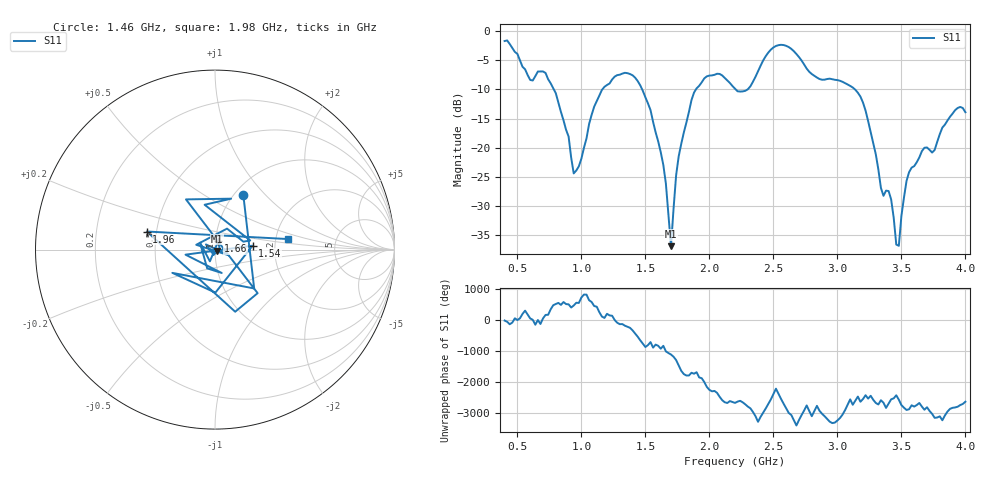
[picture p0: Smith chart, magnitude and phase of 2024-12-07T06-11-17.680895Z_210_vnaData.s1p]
!Created with skrf (http://scikit-rf.org).
# Hz S RI R 50.0
!freq ReS11 ImS11
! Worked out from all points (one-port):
!   181 points, 400 MHz to 4 GHz, reference 50 ohm
!   lowest |S11| = -36.9 dB at 1.7 GHz (marker M1), VSWR 1.03, Z = 51.2 - j0.772 ohm
!   |S11| at or under -10 dB: 784.5 MHz to 1.163 GHz (378.8 MHz wide, 38.9 % of centre); 1.475 GHz to 1.895 GHz (420 MHz wide, 24.9 % of centre); 3.137 GHz to end of sweep (the widest 3 of 4)
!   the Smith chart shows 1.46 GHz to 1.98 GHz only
!   S11 on the Smith chart (normalised r, x): 1.46 GHz: 1.10, +0.76; 1.54 GHz: 1.53, +0.07; 1.66 GHz: 1.03, +0.10; 1.96 GHz: 0.44, +0.11; 1.98 GHz: 2.33, +0.33
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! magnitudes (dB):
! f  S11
! 400 MHz  -1.7
! 600 MHz  -8.4
! 720 MHz  -7.2
! 860 MHz  -15.3
! 940 MHz  -24.4
! 1.16 GHz  -10.1
! 1.3 GHz  -7.5
! 1.46 GHz  -9.3
! 1.54 GHz  -13.5
! 1.66 GHz  -26.1
! 1.7 GHz  -36.9
! 1.76 GHz  -21.5
! 1.86 GHz  -11.8
! 1.96 GHz  -8.1
! 1.98 GHz  -7.8
! 2.2 GHz  -9.9
! 2.3 GHz  -10.0
! 2.5 GHz  -2.8
! 2.66 GHz  -3.5
! 3.1 GHz  -9.4
! 3.22 GHz  -13.6
! 3.34 GHz  -26.9
! 3.42 GHz  -28.9
! 3.46 GHz  -36.6
! 3.48 GHz  -36.8
! 3.56 GHz  -24.2
! 3.92 GHz  -13.5
! 4 GHz  -13.9
